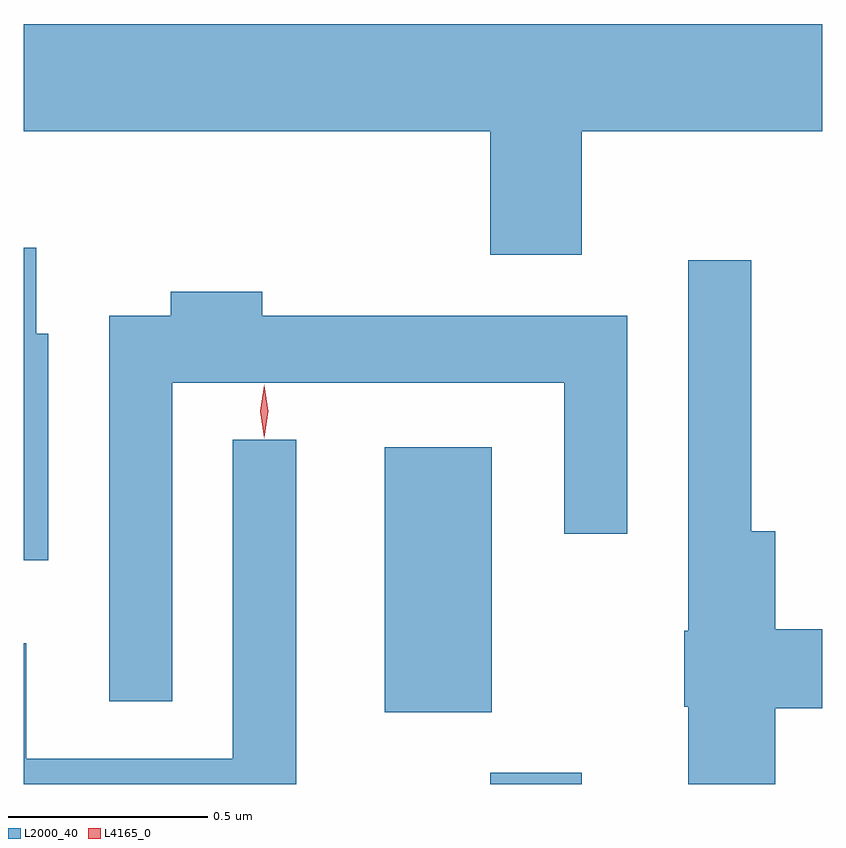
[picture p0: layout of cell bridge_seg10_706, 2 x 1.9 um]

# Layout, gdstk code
import gdstk
lib = gdstk.Library(unit=1e-6, precision=1e-09)
def R(c, l, rs):  # rectangles x0, y0, x1, y1
    for r in rs: c.add(gdstk.rectangle(r[:2], r[2:], *l))
def P(c, l, *ps):  # polygons
    for p in ps: c.add(gdstk.Polygon(p, *l))
L2000_40 = (2000, 40)
L4165_0 = (4165, 0)

bridge_seg10_706 = lib.new_cell('bridge_seg10_706')
R(bridge_seg10_706, L2000_40, [(1040.251,2096.741,1040.479,2096.769), (1039.986,2096.921,1040.254,2097.584)])
P(bridge_seg10_706, L2000_40, [(1040.479,2098.376),(1041.082,2098.376),(1041.082,2098.644),(1039.082,2098.644),(1039.082,2098.376),(1040.251,2098.376),(1040.251,2098.066),(1040.479,2098.066)],
  [(1039.144,2097.869),(1039.114,2097.869),(1039.114,2098.084),(1039.082,2098.084),(1039.082,2097.301),(1039.144,2097.301)],
  [(1040.964,2096.931),(1041.082,2096.931),(1041.082,2097.129),(1040.964,2097.129),(1040.964,2097.374),(1040.904,2097.374),(1040.904,2098.053),(1040.746,2098.053),(1040.746,2097.125),(1040.736,2097.125),(1040.736,2096.935),(1040.746,2096.935),(1040.746,2096.741),(1040.964,2096.741)],
  [(1039.454,2097.746),(1040.436,2097.746),(1040.436,2097.368),(1040.594,2097.368),(1040.594,2097.914),(1039.679,2097.914),(1039.679,2097.974),(1039.451,2097.974),(1039.451,2097.914),(1039.296,2097.914),(1039.296,2096.948),(1039.454,2096.948)],
  [(1039.764,2097.603),(1039.606,2097.603),(1039.606,2096.804),(1039.089,2096.804),(1039.089,2097.094),(1039.082,2097.094),(1039.082,2096.741),(1039.764,2096.741)])
P(bridge_seg10_706, L4165_0, [(1039.684,2097.607),(1039.684,2097.608),(1039.674,2097.674),(1039.684,2097.74),(1039.684,2097.741),(1039.685,2097.74),(1039.694,2097.674),(1039.685,2097.608)])

lib.write_gds('bridge_seg10_706.gds')
